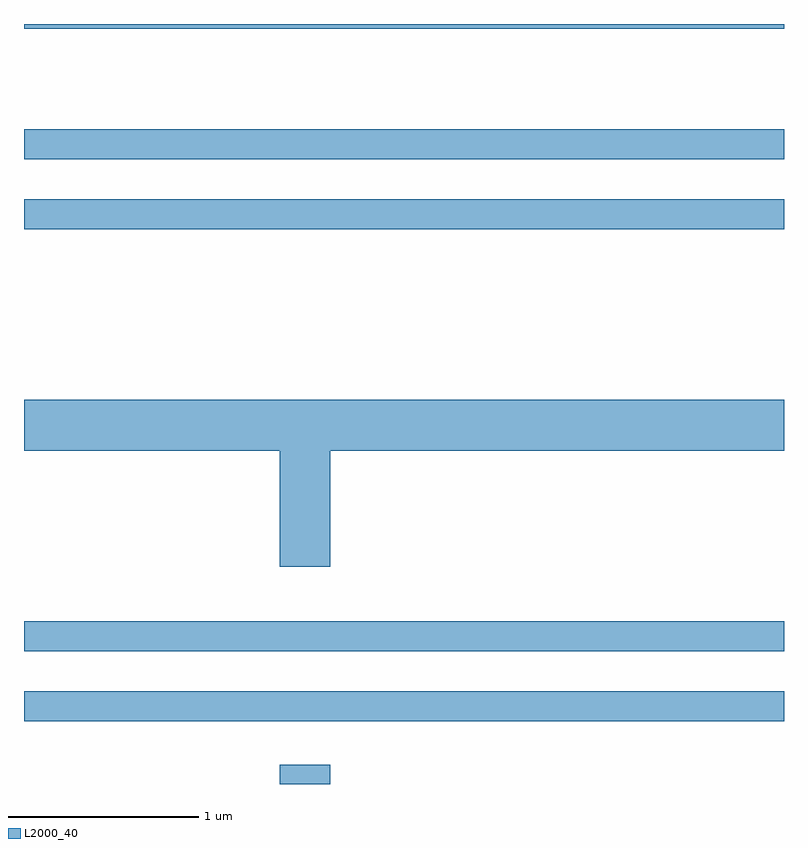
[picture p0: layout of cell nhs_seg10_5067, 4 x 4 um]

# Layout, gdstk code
import gdstk
lib = gdstk.Library(unit=1e-6, precision=1e-09)
def R(c, l, rs):  # rectangles x0, y0, x1, y1
    for r in rs: c.add(gdstk.rectangle(r[:2], r[2:], *l))
def P(c, l, *ps):  # polygons
    for p in ps: c.add(gdstk.Polygon(p, *l))
L2000_40 = (2000, 40)

nhs_seg10_5067 = lib.new_cell('nhs_seg10_5067')
R(nhs_seg10_5067, L2000_40, [(334.956,2196.522,335.224,2196.624), (333.611,2196.851,337.611,2197.009), (333.611,2197.221,337.611,2197.379), (333.611,2199.441,337.611,2199.599), (333.611,2199.811,337.611,2199.969), (333.611,2200.496,337.611,2200.522)])
P(nhs_seg10_5067, L2000_40, [(335.224,2198.276),(337.611,2198.276),(337.611,2198.544),(333.611,2198.544),(333.611,2198.276),(334.956,2198.276),(334.956,2197.666),(335.224,2197.666)])

lib.write_gds('nhs_seg10_5067.gds')
